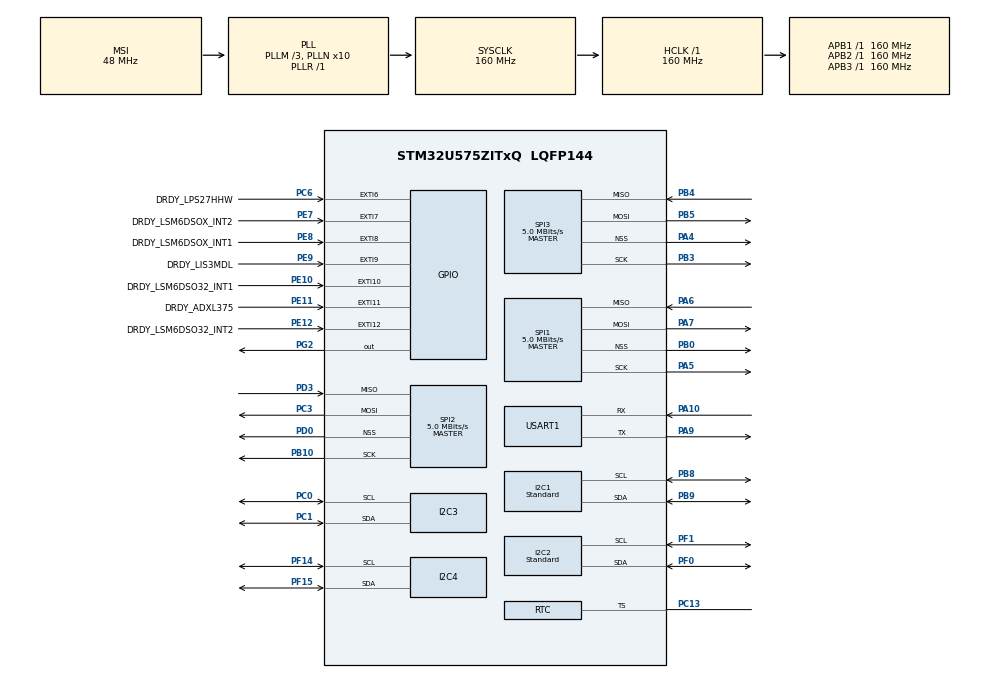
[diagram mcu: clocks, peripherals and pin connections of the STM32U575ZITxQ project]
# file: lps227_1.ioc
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ADC4.Channel-0\#ChannelRegularConversion=ADC4_CHANNEL_TEMPSENSOR
ADC4.ClockPrescaler=ADC_CLOCK_ASYNC_DIV4
ADC4.ContinuousConvMode=ENABLE
ADC4.NbrOfConversionFlag=1
ADC4.OffsetNumber-0\#ChannelRegularConversion=ADC_OFFSET_NONE
ADC4.Overrun=ADC_OVR_DATA_OVERWRITTEN
ADC4.Rank-0\#ChannelRegularConversion=1
ADC4.RankArg-0\#ChannelRegularConversion=ADC4_REGULAR_RANK_1
ADC4.SamplingTime-0\#ChannelRegularConversion=ADC4_SAMPLINGTIME_COMMON_1
ADC4.SelectedChannel=ADC4_CHANNEL_TEMPSENSOR
CORTEX_M33_NS.userName=CORTEX_M33
I2C1.I2C_Fall_Time=2
I2C1.I2C_Rise_Time=26
I2C1.I2C_Speed_Mode=I2C_Standard
I2C1.NoStretchMode=I2C_NOSTRETCH_ENABLE
I2C1.OwnAddress=0
I2C1.Timing=0x30B09DEB
I2C2.I2C_Fall_Time=0
I2C2.I2C_Rise_Time=0
I2C2.I2C_Speed_Mode=I2C_Standard
I2C2.NoStretchMode=I2C_NOSTRETCH_ENABLE
I2C2.Timing=0x30909DEC
I2C3.NoStretchMode=I2C_NOSTRETCH_ENABLE
I2C3.Timing=0x30909DEC
I2C4.NoStretchMode=I2C_NOSTRETCH_ENABLE
I2C4.Timing=0x30909DEC
Mcu.Family=STM32U5
Mcu.Name=STM32U575ZITxQ
Mcu.Package=LQFP144
NVIC.ADC4_IRQn=true\:0\:0\:false\:false\:true\:true\:true\:true
NVIC.EXTI10_IRQn=true\:0\:0\:false\:false\:true\:true\:true\:true
NVIC.EXTI11_IRQn=true\:0\:0\:false\:false\:true\:true\:true\:true
NVIC.EXTI12_IRQn=true\:0\:0\:false\:false\:true\:true\:true\:true
NVIC.EXTI6_IRQn=true\:0\:0\:false\:false\:true\:true\:true\:true
NVIC.EXTI7_IRQn=true\:0\:0\:false\:false\:true\:true\:true\:true
NVIC.EXTI8_IRQn=true\:0\:0\:false\:false\:true\:true\:true\:true
NVIC.EXTI9_IRQn=true\:0\:0\:false\:false\:true\:true\:true\:true
NVIC.PriorityGroup=NVIC_PRIORITYGROUP_3
NVIC.RTC_IRQn=true\:0\:0\:false\:false\:true\:true\:true\:true
PA10.Mode=Asynchronous
PA10.Signal=USART1_RX
PA11.Signal=USB_OTG_FS_DM
PA12.Signal=USB_OTG_FS_DP
PA13\ (JTMS/SWDIO).Signal=DEBUG_JTMS-SWDIO
PA14\ (JTCK/SWCLK).Signal=DEBUG_JTCK-SWCLK
PA15\ (JTDI).Signal=UCPD1_CC1
PA4.Mode=NSS_Signal_Hard_Output
PA4.Signal=SPI3_NSS
PA5.GPIO_Mode=GPIO_MODE_AF_PP
PA5.GPIO_PuPd=GPIO_NOPULL
PA5.GPIO_Speed=GPIO_SPEED_FREQ_LOW
PA5.Mode=Full_Duplex_Master
PA5.Signal=SPI1_SCK
PA6.Mode=Full_Duplex_Master
PA6.Signal=SPI1_MISO
PA7.Mode=Full_Duplex_Master
PA7.Signal=SPI1_MOSI
PA9.Mode=Asynchronous
PA9.Signal=USART1_TX
PB0.Mode=NSS_Signal_Hard_Output
PB0.Signal=SPI1_NSS
PB10.Mode=Full_Duplex_Master
PB10.Signal=SPI2_SCK
PB15.Signal=UCPD1_CC2
PB3\ (JTDO/TRACESWO).Mode=Full_Duplex_Master
PB3\ (JTDO/TRACESWO).Signal=SPI3_SCK
PB4\ (NJTRST).Mode=Full_Duplex_Master
PB4\ (NJTRST).Signal=SPI3_MISO
PB5.Mode=Full_Duplex_Master
PB5.Signal=SPI3_MOSI
PB8.GPIO_FM8=__NULL
PB8.GPIO_Pu=GPIO_PULLUP
PB8.Mode=I2C
PB8.Signal=I2C1_SCL
PB9.GPIO_FM9=__NULL
PB9.GPIO_Pu=GPIO_PULLUP
PB9.Mode=I2C
PB9.Signal=I2C1_SDA
PC0.GPIO_Pu=GPIO_PULLUP
PC0.Mode=I2C
PC0.Signal=I2C3_SCL
PC1.GPIO_Pu=GPIO_PULLUP
PC1.Mode=I2C
PC1.Signal=I2C3_SDA
PC13.Mode=Timestamp enabled
PC13.Signal=RTC_TS
PC14-OSC32_IN\ (PC14).Signal=RCC_OSC32_IN
PC15-OSC32_OUT\ (PC15).Signal=RCC_OSC32_OUT
PC2.GPIO_Label=VBUS_SENSE
PC2.Signal=ADC1_IN3
PC3.Mode=Full_Duplex_Master
PC3.Signal=SPI2_MOSI
PC6.GPIO_Label=DRDY_LPS27HHW
PC6.GPIO_ModeDefaultEXTI=GPIO_MODE_IT_RISING
PC6.GPIO_PuPd=GPIO_NOPULL
PC6.Signal=GPXTI6
PD0.Mode=NSS_Signal_Hard_Output
PD0.Signal=SPI2_NSS
PD3.Mode=Full_Duplex_Master
PD3.Signal=SPI2_MISO
PE10.GPIO_Label=DRDY_LSM6DSO32_INT1
PE10.GPIO_ModeDefaultEXTI=GPIO_MODE_IT_RISING
PE10.GPIO_PuPd=GPIO_NOPULL
PE10.Signal=GPXTI10
PE11.GPIO_Label=DRDY_ADXL375
PE11.GPIO_ModeDefaultEXTI=GPIO_MODE_IT_FALLING
PE11.Signal=GPXTI11
PE12.GPIO_Label=DRDY_LSM6DSO32_INT2
PE12.GPIO_ModeDefaultEXTI=GPIO_MODE_IT_RISING
PE12.GPIO_PuPd=GPIO_NOPULL
PE12.Signal=GPXTI12
PE7.GPIO_Label=DRDY_LSM6DSOX_INT2
PE7.GPIO_PuPd=GPIO_NOPULL
PE7.Signal=GPXTI7
PE8.GPIO_Label=DRDY_LSM6DSOX_INT1
PE8.GPIO_PuPd=GPIO_NOPULL
PE8.Signal=GPXTI8
PE9.GPIO_Label=DRDY_LIS3MDL
PE9.GPIO_PuPd=GPIO_NOPULL
PE9.Signal=GPXTI9
PF0.GPIO_Pu=GPIO_PULLUP
PF0.Mode=I2C
PF0.Signal=I2C2_SDA
PF1.GPIO_Pu=GPIO_PULLUP
PF1.Mode=I2C
PF1.Signal=I2C2_SCL
PF14.GPIO_Pu=GPIO_PULLUP
PF14.Mode=I2C
PF14.Signal=I2C4_SCL
PF15.GPIO_Pu=GPIO_PULLUP
PF15.Mode=I2C
PF15.Signal=I2C4_SDA
PG2.Signal=GPIO_Output
PWR.PowerMode=PWR_SMPS_SUPPLY
ProjectManager.HeapSize=0x200
ProjectManager.StackSize=0x400
ProjectManager.TargetToolchain=STM32CubeIDE
RCC.ADCFreq_Value=16000000
RCC.AHBFreq_Value=160000000
RCC.APB1Freq_Value=160000000
RCC.APB1TimFreq_Value=160000000
RCC.APB2Freq_Value=160000000
RCC.APB2TimFreq_Value=160000000
RCC.APB3Freq_Value=160000000
RCC.CortexFreq_Value=160000000
RCC.DACCLockSelectionVirtual=RCC_DAC1CLKSOURCE_LSI
RCC.DACCLockSelectionVirtualString=RCC_DAC1CLKSOURCE_LSI
RCC.EPOD_VALUE=48000000
RCC.HCLKFreq_Value=160000000
RCC.HSE_VALUE=16000000
RCC.HSI48_VALUE=48000000
RCC.HSI_VALUE=16000000
RCC.I2C1CLockSelection=RCC_I2C1CLKSOURCE_SYSCLK
RCC.LSE_VALUE=32768
RCC.LSIDIV_VALUE=32000
RCC.MSIClockRange=RCC_MSIRANGE_0
RCC.MSI_VALUE=48000000
RCC.PLL1R=1
RCC.PLL2FRACN=0
RCC.PLL3FRACN=0
RCC.PLLFRACN=0
RCC.PLLM=3
RCC.PLLN=10
RCC.SYSCLKFreq_VALUE=160000000
RCC.SYSCLKSource=RCC_SYSCLKSOURCE_PLLCLK
RCC.USBFreq_Value=48000000
RCC.VCOOutputFreq_Value=160000000
RTC.Date=9
RTC.Month=RTC_MONTH_JUNE
RTC.WeekDay=RTC_WEEKDAY_THURSDAY
RTC.Year=22
SPI1.BaudRatePrescaler=SPI_BAUDRATEPRESCALER_32
SPI1.CLKPhase=SPI_PHASE_2EDGE
SPI1.CLKPolarity=SPI_POLARITY_HIGH
SPI1.CalculateBaudRate=5.0 MBits/s
SPI1.DataSize=SPI_DATASIZE_8BIT
SPI1.Direction=SPI_DIRECTION_2LINES
SPI1.Mode=SPI_MODE_MASTER
SPI1.ReadyPolarity=SPI_RDY_POLARITY_LOW
SPI1.VirtualNSS=VM_NSSHARD
SPI1.VirtualType=VM_MASTER
SPI2.BaudRatePrescaler=SPI_BAUDRATEPRESCALER_32
SPI2.CLKPhase=SPI_PHASE_2EDGE
SPI2.CLKPolarity=SPI_POLARITY_HIGH
SPI2.CalculateBaudRate=5.0 MBits/s
SPI2.DataSize=SPI_DATASIZE_8BIT
SPI2.Direction=SPI_DIRECTION_2LINES
SPI2.Mode=SPI_MODE_MASTER
SPI2.ReadyPolarity=SPI_RDY_POLARITY_LOW
SPI2.VirtualNSS=VM_NSSHARD
SPI2.VirtualType=VM_MASTER
SPI3.BaudRatePrescaler=SPI_BAUDRATEPRESCALER_32
SPI3.CLKPhase=SPI_PHASE_2EDGE
SPI3.CLKPolarity=SPI_POLARITY_HIGH
SPI3.CalculateBaudRate=5.0 MBits/s
SPI3.Direction=SPI_DIRECTION_2LINES
SPI3.Mode=SPI_MODE_MASTER
SPI3.ReadyPolarity=SPI_RDY_POLARITY_LOW
SPI3.VirtualNSS=VM_NSSHARD
SPI3.VirtualType=VM_MASTER
USART1.VirtualMode-Asynchronous=VM_ASYNC
VP_ADC4_TempSens_Input.Mode=IN-TempSens
VP_ICACHE_VS_ICACHE.Mode=DirectMappedCache
VP_LPBAMQUEUE_VS_QUEUE.Mode=QUEUEMODE
VP_LPBAM_VS_SIG1.Mode=SmartRun
VP_LPBAM_VS_SIG4.Mode=LPDMA1
VP_PWR_VS_DBSignals.Mode=DisableDeadBatterySignals
VP_PWR_VS_LPOM.Mode=PowerOptimisation
VP_PWR_VS_SECSignals.Mode=Security/Privilege
VP_RTC_VS_RTC_Activate.Mode=RTC_Enabled
VP_RTC_VS_RTC_Calendar.Mode=RTC_Calendar
board=NUCLEO-U575ZI-Q

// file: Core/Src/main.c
/* USER CODE BEGIN Header */
/**
 ******************************************************************************
 * @file           : main.c
 * @brief          : Main program body
 ******************************************************************************
 * @attention
 *
 * Copyright (c) 2022 STMicroelectronics.
 * All rights reserved.
 *
 * This software is licensed under terms that can be found in the LICENSE file
 * in the root directory of this software component.
 * If no LICENSE file comes with this software, it is provided AS-IS.
 *
 ******************************************************************************
 */
/* USER CODE END Header */
#include "main.h"

/* USER CODE BEGIN Includes */
#include "stdio.h"
#include "string.h"

#include "rtc_timestamp.h"
#include "sensor_framework.h"
#include "lps277_i2c.h"
#include"lps277_spi.h"
#include "adc_tempsensor.h"
#include "lis2mdl_i2c.h"
#include "bme680_i2c.h"
#include "bh1750_i2c.h"
#include"lsm6dsox_i2c.h"
#include "lis3mdl_i2c.h"
#include "apds9960_i2c.h"
#include "adxl375_spi.h"
#include "adxl375_i2c.h"
#include "aht20_i2c.h"
#include "lsm6dso32_i2c.h"
#include "lsm6dso32_spi.h"
#include "set_drdy.h"
#include "test_file.h"
/* USER CODE END Includes */

 ADC_HandleTypeDef hadc4;

I2C_HandleTypeDef hi2c1;
I2C_HandleTypeDef hi2c2;
I2C_HandleTypeDef hi2c3;
I2C_HandleTypeDef hi2c4;

RTC_HandleTypeDef hrtc;

SPI_HandleTypeDef hspi1;
SPI_HandleTypeDef hspi2;
SPI_HandleTypeDef hspi3;

UART_HandleTypeDef huart1;

/* USER CODE BEGIN PV */
uint8_t aShowTimeStamp[16] = "hh:ms:ss";

uint8_t aShowDateStamp[16] = "dd-mm-yyyy";
//__IO uint8_t  RTCStatus = 0;
/* USER CODE END PV */

void SystemClock_Config(void);
static void SystemPower_Config(void);
static void MX_GPIO_Init(void);
static void MX_USART1_UART_Init(void);
static void MX_ICACHE_Init(void);
static void MX_I2C1_Init(void);
static void MX_SPI1_Init(void);
static void MX_RTC_Init(void);
static void MX_ADC4_Init(void);
static void MX_I2C2_Init(void);
static void MX_I2C3_Init(void);
static void MX_I2C4_Init(void);
static void MX_SPI2_Init(void);
static void MX_SPI3_Init(void);
/* USER CODE BEGIN PFP */
//LPS27HHW sensor test functions
uint8_t lps277I2CTestInit(I2C_HandleTypeDef I2C_Handle);
uint8_t lps277SPITestInit(SPI_HandleTypeDef SPI_Handle);
uint8_t lps277I2CTestFunction(uint32_t *pres_final_data , I2C_HandleTypeDef I2C_Handle);
uint8_t lps277SPITestFunction(uint32_t *pres_final_data , SPI_HandleTypeDef SPI_Handle);

//LIS2MDL sensor test functions
uint8_t lis2mdlI2CTestInit(I2C_HandleTypeDef I2C_Handle);
uint8_t lis2mdlI2CTestFunction(float magn_final_data[] , I2C_HandleTypeDef I2C_Handle);

//LSM6DSOX sensor test functions
uint8_t lsm6dsoxI2CTestInit(I2C_HandleTypeDef I2C_Handle);
uint8_t lsm6dsoxI2CTestFunction(int16_t acc_final_data[] , int16_t gyro_final_data[], I2C_HandleTypeDef I2C_Handle , uint8_t *acc_flag , uint8_t *gyro_flag);

/* USER CODE END PFP */

int main(void)
{

  /* MCU Configuration--------------------------------------------------------*/

  /* Reset of all peripherals, Initializes the Flash interface and the Systick. */
  HAL_Init();

  /* Configure the system clock */
  SystemClock_Config();

  /* Configure the System Power */
  SystemPower_Config();

  /* Initialize all configured peripherals */
  MX_GPIO_Init();
  MX_USART1_UART_Init();
  MX_ICACHE_Init();
  MX_I2C1_Init();
  MX_SPI1_Init();
  MX_RTC_Init();
  MX_ADC4_Init();
  MX_I2C2_Init();
  MX_I2C3_Init();
  MX_I2C4_Init();
  MX_SPI2_Init();
  MX_SPI3_Init();
  /* USER CODE BEGIN 2 */

	//Initializes all the test sensors
	if(HAL_OK != sensorsInit(hi2c1, hi2c2, hi2c3, hi2c4,
			hspi1, hspi2 , hspi3 , hadc4))
		return HAL_ERROR;

  /* USER CODE END 2 */

  /* Infinite loop */
	while (1)
	{

    /* USER CODE BEGIN 3 */

		//Main sensor framework
		sensor_framework(hi2c1, hi2c2, hi2c3, hi2c4,
				hspi1, hspi2 , hspi3 , hadc4 , huart1 , hrtc);
	}
  /* USER CODE END 3 */
}

void SystemClock_Config(void)
{
  RCC_OscInitTypeDef RCC_OscInitStruct = {0};
  RCC_ClkInitTypeDef RCC_ClkInitStruct = {0};

  /** Configure the main internal regulator output voltage
  */
  if (HAL_PWREx_ControlVoltageScaling(PWR_REGULATOR_VOLTAGE_SCALE1) != HAL_OK)
  {
    Error_Handler();
  }

  /** Initializes the CPU, AHB and APB busses clocks
  */
  RCC_OscInitStruct.OscillatorType = RCC_OSCILLATORTYPE_HSI|RCC_OSCILLATORTYPE_LSI
                              |RCC_OSCILLATORTYPE_MSI;
  RCC_OscInitStruct.HSIState = RCC_HSI_ON;
  RCC_OscInitStruct.HSICalibrationValue = RCC_HSICALIBRATION_DEFAULT;
  RCC_OscInitStruct.LSIState = RCC_LSI_ON;
  RCC_OscInitStruct.MSIState = RCC_MSI_ON;
  RCC_OscInitStruct.MSICalibrationValue = RCC_MSICALIBRATION_DEFAULT;
  RCC_OscInitStruct.MSIClockRange = RCC_MSIRANGE_0;
  RCC_OscInitStruct.LSIDiv = RCC_LSI_DIV1;
  RCC_OscInitStruct.PLL.PLLState = RCC_PLL_ON;
  RCC_OscInitStruct.PLL.PLLSource = RCC_PLLSOURCE_MSI;
  RCC_OscInitStruct.PLL.PLLMBOOST = RCC_PLLMBOOST_DIV4;
  RCC_OscInitStruct.PLL.PLLM = 3;
  RCC_OscInitStruct.PLL.PLLN = 10;
  RCC_OscInitStruct.PLL.PLLP = 2;
  RCC_OscInitStruct.PLL.PLLQ = 2;
  RCC_OscInitStruct.PLL.PLLR = 1;
  RCC_OscInitStruct.PLL.PLLRGE = RCC_PLLVCIRANGE_1;
  RCC_OscInitStruct.PLL.PLLFRACN = 0;
  if (HAL_RCC_OscConfig(&RCC_OscInitStruct) != HAL_OK)
  {
    Error_Handler();
  }

  /** Initializes the CPU, AHB and APB busses clocks
  */
  RCC_ClkInitStruct.ClockType = RCC_CLOCKTYPE_HCLK|RCC_CLOCKTYPE_SYSCLK
                              |RCC_CLOCKTYPE_PCLK1|RCC_CLOCKTYPE_PCLK2
                              |RCC_CLOCKTYPE_PCLK3;
  RCC_ClkInitStruct.SYSCLKSource = RCC_SYSCLKSOURCE_PLLCLK;
  RCC_ClkInitStruct.AHBCLKDivider = RCC_SYSCLK_DIV1;
  RCC_ClkInitStruct.APB1CLKDivider = RCC_HCLK_DIV1;
  RCC_ClkInitStruct.APB2CLKDivider = RCC_HCLK_DIV1;
  RCC_ClkInitStruct.APB3CLKDivider = RCC_HCLK_DIV1;

  if (HAL_RCC_ClockConfig(&RCC_ClkInitStruct, FLASH_LATENCY_4) != HAL_OK)
  {
    Error_Handler();
  }
}

/**
  * @brief Power Configuration
  * @retval None
  */
static void SystemPower_Config(void)
{
  HAL_PWREx_EnableVddIO2();

  /*
   * Disable the internal Pull-Up in Dead Battery pins of UCPD peripheral
   */
  HAL_PWREx_DisableUCPDDeadBattery();

  /*
   * Switch to SMPS regulator instead of LDO
   */
  if (HAL_PWREx_ConfigSupply(PWR_SMPS_SUPPLY) != HAL_OK)
  {
    Error_Handler();
  }
}

static void MX_ADC4_Init(void)
{

  ADC_ChannelConfTypeDef sConfig = {0};

  /** Common config
  */
  hadc4.Instance = ADC4;
  hadc4.Init.ClockPrescaler = ADC_CLOCK_ASYNC_DIV4;
  hadc4.Init.Resolution = ADC_RESOLUTION_12B;
  hadc4.Init.DataAlign = ADC_DATAALIGN_RIGHT;
  hadc4.Init.ScanConvMode = ADC4_SCAN_DISABLE;
  hadc4.Init.EOCSelection = ADC_EOC_SINGLE_CONV;
  hadc4.Init.LowPowerAutoPowerOff = ADC_LOW_POWER_NONE;
  hadc4.Init.LowPowerAutoWait = DISABLE;
  hadc4.Init.ContinuousConvMode = ENABLE;
  hadc4.Init.NbrOfConversion = 1;
  hadc4.Init.ExternalTrigConv = ADC_SOFTWARE_START;
  hadc4.Init.ExternalTrigConvEdge = ADC_EXTERNALTRIGCONVEDGE_NONE;
  hadc4.Init.DMAContinuousRequests = DISABLE;
  hadc4.Init.TriggerFrequencyMode = ADC_TRIGGER_FREQ_LOW;
  hadc4.Init.Overrun = ADC_OVR_DATA_OVERWRITTEN;
  hadc4.Init.SamplingTimeCommon1 = ADC4_SAMPLETIME_1CYCLE_5;
  hadc4.Init.SamplingTimeCommon2 = ADC4_SAMPLETIME_1CYCLE_5;
  hadc4.Init.OversamplingMode = DISABLE;
  if (HAL_ADC_Init(&hadc4) != HAL_OK)
  {
    Error_Handler();
  }

  /** Configure Regular Channel
  */
  sConfig.Channel = ADC4_CHANNEL_TEMPSENSOR;
  sConfig.Rank = ADC4_REGULAR_RANK_1;
  sConfig.SamplingTime = ADC4_SAMPLINGTIME_COMMON_1;
  sConfig.OffsetNumber = ADC_OFFSET_NONE;
  sConfig.Offset = 0;
  if (HAL_ADC_ConfigChannel(&hadc4, &sConfig) != HAL_OK)
  {
    Error_Handler();
  }
  /* USER CODE BEGIN ADC4_Init 2 */

	//Calibration a must for accurate values
	if(HAL_OK != HAL_ADCEx_Calibration_Start(&hadc4, ADC_CALIB_OFFSET, ADC_SINGLE_ENDED))
		Error_Handler();
  /* USER CODE END ADC4_Init 2 */

}

static void MX_I2C1_Init(void)
{

  hi2c1.Instance = I2C1;
  hi2c1.Init.Timing = 0x30B09DEB;
  hi2c1.Init.OwnAddress1 = 0;
  hi2c1.Init.AddressingMode = I2C_ADDRESSINGMODE_7BIT;
  hi2c1.Init.DualAddressMode = I2C_DUALADDRESS_DISABLE;
  hi2c1.Init.OwnAddress2 = 0;
  hi2c1.Init.OwnAddress2Masks = I2C_OA2_NOMASK;
  hi2c1.Init.GeneralCallMode = I2C_GENERALCALL_DISABLE;
  hi2c1.Init.NoStretchMode = I2C_NOSTRETCH_ENABLE;
  if (HAL_I2C_Init(&hi2c1) != HAL_OK)
  {
    Error_Handler();
  }

  /** Configure Analogue filter
  */
  if (HAL_I2CEx_ConfigAnalogFilter(&hi2c1, I2C_ANALOGFILTER_ENABLE) != HAL_OK)
  {
    Error_Handler();
  }

  /** Configure Digital filter
  */
  if (HAL_I2CEx_ConfigDigitalFilter(&hi2c1, 0) != HAL_OK)
  {
    Error_Handler();
  }

}

static void MX_I2C2_Init(void)
{

  hi2c2.Instance = I2C2;
  hi2c2.Init.Timing = 0x30909DEC;
  hi2c2.Init.OwnAddress1 = 0;
  hi2c2.Init.AddressingMode = I2C_ADDRESSINGMODE_7BIT;
  hi2c2.Init.DualAddressMode = I2C_DUALADDRESS_DISABLE;
  hi2c2.Init.OwnAddress2 = 0;
  hi2c2.Init.OwnAddress2Masks = I2C_OA2_NOMASK;
  hi2c2.Init.GeneralCallMode = I2C_GENERALCALL_DISABLE;
  hi2c2.Init.NoStretchMode = I2C_NOSTRETCH_ENABLE;
  if (HAL_I2C_Init(&hi2c2) != HAL_OK)
  {
    Error_Handler();
  }

  /** Configure Analogue filter
  */
  if (HAL_I2CEx_ConfigAnalogFilter(&hi2c2, I2C_ANALOGFILTER_ENABLE) != HAL_OK)
  {
    Error_Handler();
  }

  /** Configure Digital filter
  */
  if (HAL_I2CEx_ConfigDigitalFilter(&hi2c2, 0) != HAL_OK)
  {
    Error_Handler();
  }

}

static void MX_I2C3_Init(void)
{

  hi2c3.Instance = I2C3;
  hi2c3.Init.Timing = 0x30909DEC;
  hi2c3.Init.OwnAddress1 = 0;
  hi2c3.Init.AddressingMode = I2C_ADDRESSINGMODE_7BIT;
  hi2c3.Init.DualAddressMode = I2C_DUALADDRESS_DISABLE;
  hi2c3.Init.OwnAddress2 = 0;
  hi2c3.Init.OwnAddress2Masks = I2C_OA2_NOMASK;
  hi2c3.Init.GeneralCallMode = I2C_GENERALCALL_DISABLE;
  hi2c3.Init.NoStretchMode = I2C_NOSTRETCH_ENABLE;
  if (HAL_I2C_Init(&hi2c3) != HAL_OK)
  {
    Error_Handler();
  }

  /** Configure Analogue filter
  */
  if (HAL_I2CEx_ConfigAnalogFilter(&hi2c3, I2C_ANALOGFILTER_ENABLE) != HAL_OK)
  {
    Error_Handler();
  }

  /** Configure Digital filter
  */
  if (HAL_I2CEx_ConfigDigitalFilter(&hi2c3, 0) != HAL_OK)
  {
    Error_Handler();
  }

}

static void MX_I2C4_Init(void)
{

  hi2c4.Instance = I2C4;
  hi2c4.Init.Timing = 0x30909DEC;
  hi2c4.Init.OwnAddress1 = 0;
  hi2c4.Init.AddressingMode = I2C_ADDRESSINGMODE_7BIT;
  hi2c4.Init.DualAddressMode = I2C_DUALADDRESS_DISABLE;
  hi2c4.Init.OwnAddress2 = 0;
  hi2c4.Init.OwnAddress2Masks = I2C_OA2_NOMASK;
  hi2c4.Init.GeneralCallMode = I2C_GENERALCALL_DISABLE;
  hi2c4.Init.NoStretchMode = I2C_NOSTRETCH_ENABLE;
  if (HAL_I2C_Init(&hi2c4) != HAL_OK)
  {
    Error_Handler();
  }

  /** Configure Analogue filter
  */
  if (HAL_I2CEx_ConfigAnalogFilter(&hi2c4, I2C_ANALOGFILTER_ENABLE) != HAL_OK)
  {
    Error_Handler();
  }

  /** Configure Digital filter
  */
  if (HAL_I2CEx_ConfigDigitalFilter(&hi2c4, 0) != HAL_OK)
  {
    Error_Handler();
  }

}

static void MX_ICACHE_Init(void)
{

  /** Enable instruction cache in 1-way (direct mapped cache)
  */
  if (HAL_ICACHE_ConfigAssociativityMode(ICACHE_1WAY) != HAL_OK)
  {
    Error_Handler();
  }
  if (HAL_ICACHE_Enable() != HAL_OK)
  {
    Error_Handler();
  }

}

static void MX_RTC_Init(void)
{

  RTC_PrivilegeStateTypeDef privilegeState = {0};
  RTC_TimeTypeDef sTime = {0};
  RTC_DateTypeDef sDate = {0};

  /** Initialize RTC Only
  */
  hrtc.Instance = RTC;
  hrtc.Init.HourFormat = RTC_HOURFORMAT_24;
  hrtc.Init.AsynchPrediv = 127;
  hrtc.Init.SynchPrediv = 255;
  hrtc.Init.OutPut = RTC_OUTPUT_DISABLE;
  hrtc.Init.OutPutRemap = RTC_OUTPUT_REMAP_NONE;
  hrtc.Init.OutPutPolarity = RTC_OUTPUT_POLARITY_HIGH;
  hrtc.Init.OutPutType = RTC_OUTPUT_TYPE_OPENDRAIN;
  hrtc.Init.OutPutPullUp = RTC_OUTPUT_PULLUP_NONE;
  hrtc.Init.BinMode = RTC_BINARY_NONE;
  if (HAL_RTC_Init(&hrtc) != HAL_OK)
  {
    Error_Handler();
  }
  privilegeState.rtcPrivilegeFull = RTC_PRIVILEGE_FULL_NO;
  privilegeState.backupRegisterPrivZone = RTC_PRIVILEGE_BKUP_ZONE_NONE;
  privilegeState.backupRegisterStartZone2 = RTC_BKP_DR0;
  privilegeState.backupRegisterStartZone3 = RTC_BKP_DR0;
  if (HAL_RTCEx_PrivilegeModeSet(&hrtc, &privilegeState) != HAL_OK)
  {
    Error_Handler();
  }

  /** Initialize RTC and set the Time and Date
  */
  sTime.Hours = 0x0;
  sTime.Minutes = 0x0;
  sTime.Seconds = 0x0;
  sTime.DayLightSaving = RTC_DAYLIGHTSAVING_NONE;
  sTime.StoreOperation = RTC_STOREOPERATION_RESET;
  if (HAL_RTC_SetTime(&hrtc, &sTime, RTC_FORMAT_BCD) != HAL_OK)
  {
    Error_Handler();
  }
  sDate.WeekDay = RTC_WEEKDAY_THURSDAY;
  sDate.Month = RTC_MONTH_JUNE;
  sDate.Date = 0x9;
  sDate.Year = 0x22;
  if (HAL_RTC_SetDate(&hrtc, &sDate, RTC_FORMAT_BCD) != HAL_OK)
  {
    Error_Handler();
  }

  /** Enable the TimeStamp
  */
  if (HAL_RTCEx_SetTimeStamp_IT(&hrtc, RTC_TIMESTAMPEDGE_RISING, RTC_TIMESTAMPPIN_DEFAULT) != HAL_OK)
  {
    Error_Handler();
  }
  /* USER CODE BEGIN RTC_Init 2 */

	//Subtracts a fraction of a second
	//Reference: RM0456 Rev 3
	__HAL_RTC_WRITEPROTECTION_DISABLE(hrtc);

	hrtc.Instance->SHIFTR = 0x00000001;   //1 msec

	__HAL_RTC_WRITEPROTECTION_ENABLE(hrtc);
  /* USER CODE END RTC_Init 2 */

}

static void MX_SPI1_Init(void)
{

  SPI_AutonomousModeConfTypeDef HAL_SPI_AutonomousMode_Cfg_Struct = {0};

  /* SPI1 parameter configuration*/
  hspi1.Instance = SPI1;
  hspi1.Init.Mode = SPI_MODE_MASTER;
  hspi1.Init.Direction = SPI_DIRECTION_2LINES;
  hspi1.Init.DataSize = SPI_DATASIZE_8BIT;
  hspi1.Init.CLKPolarity = SPI_POLARITY_HIGH;
  hspi1.Init.CLKPhase = SPI_PHASE_2EDGE;
  hspi1.Init.NSS = SPI_NSS_HARD_OUTPUT;
  hspi1.Init.BaudRatePrescaler = SPI_BAUDRATEPRESCALER_32;
  hspi1.Init.FirstBit = SPI_FIRSTBIT_MSB;
  hspi1.Init.TIMode = SPI_TIMODE_DISABLE;
  hspi1.Init.CRCCalculation = SPI_CRCCALCULATION_DISABLE;
  hspi1.Init.CRCPolynomial = 0x7;
  hspi1.Init.NSSPMode = SPI_NSS_PULSE_DISABLE;
  hspi1.Init.NSSPolarity = SPI_NSS_POLARITY_LOW;
  hspi1.Init.FifoThreshold = SPI_FIFO_THRESHOLD_01DATA;
  hspi1.Init.MasterSSIdleness = SPI_MASTER_SS_IDLENESS_00CYCLE;
  hspi1.Init.MasterInterDataIdleness = SPI_MASTER_INTERDATA_IDLENESS_00CYCLE;
  hspi1.Init.MasterReceiverAutoSusp = SPI_MASTER_RX_AUTOSUSP_DISABLE;
  hspi1.Init.MasterKeepIOState = SPI_MASTER_KEEP_IO_STATE_DISABLE;
  hspi1.Init.IOSwap = SPI_IO_SWAP_DISABLE;
  hspi1.Init.ReadyMasterManagement = SPI_RDY_MASTER_MANAGEMENT_INTERNALLY;
  hspi1.Init.ReadyPolarity = SPI_RDY_POLARITY_LOW;
  if (HAL_SPI_Init(&hspi1) != HAL_OK)
  {
    Error_Handler();
  }
  HAL_SPI_AutonomousMode_Cfg_Struct.TriggerState = SPI_AUTO_MODE_DISABLE;
  HAL_SPI_AutonomousMode_Cfg_Struct.TriggerSelection = SPI_GRP1_GPDMA_CH0_TCF_TRG;
  HAL_SPI_AutonomousMode_Cfg_Struct.TriggerPolarity = SPI_TRIG_POLARITY_RISING;
  if (HAL_SPIEx_SetConfigAutonomousMode(&hspi1, &HAL_SPI_AutonomousMode_Cfg_Struct) != HAL_OK)
  {
    Error_Handler();
  }

}

static void MX_SPI2_Init(void)
{

  SPI_AutonomousModeConfTypeDef HAL_SPI_AutonomousMode_Cfg_Struct = {0};

  /* SPI2 parameter configuration*/
  hspi2.Instance = SPI2;
  hspi2.Init.Mode = SPI_MODE_MASTER;
  hspi2.Init.Direction = SPI_DIRECTION_2LINES;
  hspi2.Init.DataSize = SPI_DATASIZE_8BIT;
  hspi2.Init.CLKPolarity = SPI_POLARITY_HIGH;
  hspi2.Init.CLKPhase = SPI_PHASE_2EDGE;
  hspi2.Init.NSS = SPI_NSS_HARD_OUTPUT;
  hspi2.Init.BaudRatePrescaler = SPI_BAUDRATEPRESCALER_32;
  hspi2.Init.FirstBit = SPI_FIRSTBIT_MSB;
  hspi2.Init.TIMode = SPI_TIMODE_DISABLE;
  hspi2.Init.CRCCalculation = SPI_CRCCALCULATION_DISABLE;
  hspi2.Init.CRCPolynomial = 0x7;
  hspi2.Init.NSSPMode = SPI_NSS_PULSE_DISABLE;
  hspi2.Init.NSSPolarity = SPI_NSS_POLARITY_LOW;
  hspi2.Init.FifoThreshold = SPI_FIFO_THRESHOLD_01DATA;
  hspi2.Init.MasterSSIdleness = SPI_MASTER_SS_IDLENESS_00CYCLE;
  hspi2.Init.MasterInterDataIdleness = SPI_MASTER_INTERDATA_IDLENESS_00CYCLE;
  hspi2.Init.MasterReceiverAutoSusp = SPI_MASTER_RX_AUTOSUSP_DISABLE;
  hspi2.Init.MasterKeepIOState = SPI_MASTER_KEEP_IO_STATE_DISABLE;
  hspi2.Init.IOSwap = SPI_IO_SWAP_DISABLE;
  hspi2.Init.ReadyMasterManagement = SPI_RDY_MASTER_MANAGEMENT_INTERNALLY;
  hspi2.Init.ReadyPolarity = SPI_RDY_POLARITY_LOW;
  if (HAL_SPI_Init(&hspi2) != HAL_OK)
  {
    Error_Handler();
  }
  HAL_SPI_AutonomousMode_Cfg_Struct.TriggerState = SPI_AUTO_MODE_DISABLE;
  HAL_SPI_AutonomousMode_Cfg_Struct.TriggerSelection = SPI_GRP1_GPDMA_CH0_TCF_TRG;
  HAL_SPI_AutonomousMode_Cfg_Struct.TriggerPolarity = SPI_TRIG_POLARITY_RISING;
  if (HAL_SPIEx_SetConfigAutonomousMode(&hspi2, &HAL_SPI_AutonomousMode_Cfg_Struct) != HAL_OK)
  {
    Error_Handler();
  }

}

static void MX_SPI3_Init(void)
{

  SPI_AutonomousModeConfTypeDef HAL_SPI_AutonomousMode_Cfg_Struct = {0};

  /* SPI3 parameter configuration*/
  hspi3.Instance = SPI3;
  hspi3.Init.Mode = SPI_MODE_MASTER;
  hspi3.Init.Direction = SPI_DIRECTION_2LINES;
  hspi3.Init.DataSize = SPI_DATASIZE_8BIT;
  hspi3.Init.CLKPolarity = SPI_POLARITY_HIGH;
  hspi3.Init.CLKPhase = SPI_PHASE_2EDGE;
  hspi3.Init.NSS = SPI_NSS_HARD_OUTPUT;
  hspi3.Init.BaudRatePrescaler = SPI_BAUDRATEPRESCALER_32;
  hspi3.Init.FirstBit = SPI_FIRSTBIT_MSB;
  hspi3.Init.TIMode = SPI_TIMODE_DISABLE;
  hspi3.Init.CRCCalculation = SPI_CRCCALCULATION_DISABLE;
  hspi3.Init.CRCPolynomial = 0x7;
  hspi3.Init.NSSPMode = SPI_NSS_PULSE_DISABLE;
  hspi3.Init.NSSPolarity = SPI_NSS_POLARITY_LOW;
  hspi3.Init.FifoThreshold = SPI_FIFO_THRESHOLD_01DATA;
  hspi3.Init.MasterSSIdleness = SPI_MASTER_SS_IDLENESS_00CYCLE;
  hspi3.Init.MasterInterDataIdleness = SPI_MASTER_INTERDATA_IDLENESS_00CYCLE;
  hspi3.Init.MasterReceiverAutoSusp = SPI_MASTER_RX_AUTOSUSP_DISABLE;
  hspi3.Init.MasterKeepIOState = SPI_MASTER_KEEP_IO_STATE_DISABLE;
  hspi3.Init.IOSwap = SPI_IO_SWAP_DISABLE;
  hspi3.Init.ReadyMasterManagement = SPI_RDY_MASTER_MANAGEMENT_INTERNALLY;
  hspi3.Init.ReadyPolarity = SPI_RDY_POLARITY_LOW;
  if (HAL_SPI_Init(&hspi3) != HAL_OK)
  {
    Error_Handler();
  }
  HAL_SPI_AutonomousMode_Cfg_Struct.TriggerState = SPI_AUTO_MODE_DISABLE;
  HAL_SPI_AutonomousMode_Cfg_Struct.TriggerSelection = SPI_GRP1_GPDMA_CH0_TCF_TRG;
  HAL_SPI_AutonomousMode_Cfg_Struct.TriggerPolarity = SPI_TRIG_POLARITY_RISING;
  if (HAL_SPIEx_SetConfigAutonomousMode(&hspi3, &HAL_SPI_AutonomousMode_Cfg_Struct) != HAL_OK)
  {
    Error_Handler();
  }

}

static void MX_USART1_UART_Init(void)
{

  huart1.Instance = USART1;
  huart1.Init.BaudRate = 115200;
  huart1.Init.WordLength = UART_WORDLENGTH_8B;
  huart1.Init.StopBits = UART_STOPBITS_1;
  huart1.Init.Parity = UART_PARITY_NONE;
  huart1.Init.Mode = UART_MODE_TX_RX;
  huart1.Init.HwFlowCtl = UART_HWCONTROL_NONE;
  huart1.Init.OverSampling = UART_OVERSAMPLING_16;
  huart1.Init.OneBitSampling = UART_ONE_BIT_SAMPLE_DISABLE;
  huart1.Init.ClockPrescaler = UART_PRESCALER_DIV1;
  huart1.AdvancedInit.AdvFeatureInit = UART_ADVFEATURE_NO_INIT;
  if (HAL_UART_Init(&huart1) != HAL_OK)
  {
    Error_Handler();
  }
  if (HAL_UARTEx_SetTxFifoThreshold(&huart1, UART_TXFIFO_THRESHOLD_1_8) != HAL_OK)
  {
    Error_Handler();
  }
  if (HAL_UARTEx_SetRxFifoThreshold(&huart1, UART_RXFIFO_THRESHOLD_1_8) != HAL_OK)
  {
    Error_Handler();
  }
  if (HAL_UARTEx_DisableFifoMode(&huart1) != HAL_OK)
  {
    Error_Handler();
  }

}

static void MX_GPIO_Init(void)
{
  GPIO_InitTypeDef GPIO_InitStruct = {0};

  /* GPIO Ports Clock Enable */
  __HAL_RCC_GPIOC_CLK_ENABLE();
  __HAL_RCC_GPIOF_CLK_ENABLE();
  __HAL_RCC_GPIOA_CLK_ENABLE();
  __HAL_RCC_GPIOB_CLK_ENABLE();
  __HAL_RCC_GPIOE_CLK_ENABLE();
  __HAL_RCC_GPIOG_CLK_ENABLE();
  __HAL_RCC_GPIOD_CLK_ENABLE();

  /*Configure GPIO pin Output Level */
  HAL_GPIO_WritePin(GPIOG, GPIO_PIN_2, GPIO_PIN_RESET);

  /*Configure GPIO pin : VBUS_SENSE_Pin */
  GPIO_InitStruct.Pin = VBUS_SENSE_Pin;
  GPIO_InitStruct.Mode = GPIO_MODE_ANALOG;
  GPIO_InitStruct.Pull = GPIO_NOPULL;
  HAL_GPIO_Init(VBUS_SENSE_GPIO_Port, &GPIO_InitStruct);

  /*Configure GPIO pins : DRDY_LSM6DSOX_INT2_Pin DRDY_LSM6DSOX_INT1_Pin DRDY_LIS3MDL_Pin DRDY_LSM6DSO32_INT1_Pin
                           DRDY_LSM6DSO32_INT2_Pin */
  GPIO_InitStruct.Pin = DRDY_LSM6DSOX_INT2_Pin|DRDY_LSM6DSOX_INT1_Pin|DRDY_LIS3MDL_Pin|DRDY_LSM6DSO32_INT1_Pin
                          |DRDY_LSM6DSO32_INT2_Pin;
  GPIO_InitStruct.Mode = GPIO_MODE_IT_RISING;
  GPIO_InitStruct.Pull = GPIO_NOPULL;
  HAL_GPIO_Init(GPIOE, &GPIO_InitStruct);

  /*Configure GPIO pin : DRDY_ADXL375_Pin */
  GPIO_InitStruct.Pin = DRDY_ADXL375_Pin;
  GPIO_InitStruct.Mode = GPIO_MODE_IT_FALLING;
  GPIO_InitStruct.Pull = GPIO_NOPULL;
  HAL_GPIO_Init(DRDY_ADXL375_GPIO_Port, &GPIO_InitStruct);

  /*Configure GPIO pin : PB15 */
  GPIO_InitStruct.Pin = GPIO_PIN_15;
  GPIO_InitStruct.Mode = GPIO_MODE_ANALOG;
  GPIO_InitStruct.Pull = GPIO_NOPULL;
  HAL_GPIO_Init(GPIOB, &GPIO_InitStruct);

  /*Configure GPIO pin : PG2 */
  GPIO_InitStruct.Pin = GPIO_PIN_2;
  GPIO_InitStruct.Mode = GPIO_MODE_OUTPUT_PP;
  GPIO_InitStruct.Pull = GPIO_NOPULL;
  GPIO_InitStruct.Speed = GPIO_SPEED_FREQ_LOW;
  HAL_GPIO_Init(GPIOG, &GPIO_InitStruct);

  /*Configure GPIO pin : DRDY_LPS27HHW_Pin */
  GPIO_InitStruct.Pin = DRDY_LPS27HHW_Pin;
  GPIO_InitStruct.Mode = GPIO_MODE_IT_RISING;
  GPIO_InitStruct.Pull = GPIO_NOPULL;
  HAL_GPIO_Init(DRDY_LPS27HHW_GPIO_Port, &GPIO_InitStruct);

  /*Configure GPIO pins : PA11 PA12 */
  GPIO_InitStruct.Pin = GPIO_PIN_11|GPIO_PIN_12;
  GPIO_InitStruct.Mode = GPIO_MODE_AF_PP;
  GPIO_InitStruct.Pull = GPIO_NOPULL;
  GPIO_InitStruct.Speed = GPIO_SPEED_FREQ_LOW;
  GPIO_InitStruct.Alternate = GPIO_AF10_USB;
  HAL_GPIO_Init(GPIOA, &GPIO_InitStruct);

  /*Configure GPIO pin : PA15 */
  GPIO_InitStruct.Pin = GPIO_PIN_15;
  GPIO_InitStruct.Mode = GPIO_MODE_ANALOG;
  GPIO_InitStruct.Pull = GPIO_NOPULL;
  HAL_GPIO_Init(GPIOA, &GPIO_InitStruct);

  /* EXTI interrupt init*/
  HAL_NVIC_SetPriority(EXTI6_IRQn, 0, 0);
  HAL_NVIC_EnableIRQ(EXTI6_IRQn);

  HAL_NVIC_SetPriority(EXTI7_IRQn, 0, 0);
  HAL_NVIC_EnableIRQ(EXTI7_IRQn);

  HAL_NVIC_SetPriority(EXTI8_IRQn, 0, 0);
  HAL_NVIC_EnableIRQ(EXTI8_IRQn);

  HAL_NVIC_SetPriority(EXTI9_IRQn, 0, 0);
  HAL_NVIC_EnableIRQ(EXTI9_IRQn);

  HAL_NVIC_SetPriority(EXTI10_IRQn, 0, 0);
  HAL_NVIC_EnableIRQ(EXTI10_IRQn);

  HAL_NVIC_SetPriority(EXTI11_IRQn, 0, 0);
  HAL_NVIC_EnableIRQ(EXTI11_IRQn);

  HAL_NVIC_SetPriority(EXTI12_IRQn, 0, 0);
  HAL_NVIC_EnableIRQ(EXTI12_IRQn);

}

/* USER CODE BEGIN 4 */

/**
 * @brief Interrupt callback for INT_DRDY pin from sensor (PC-6)
 * @param uint16_t GPIO_Pin: GPIO Pin number where interrupt is triggered
 * @retval None
 */
//void HAL_GPIO_EXTI_Rising_Callback(uint16_t GPIO_Pin)
//{
//	//LPS27HHW data ready pin
//	if(GPIO_Pin == DRDY_LPS27HHW_Pin)
//		lps27_drdy = 1;
//
//	//LSM6DSOX data ready pin gyroscope
//	if(GPIO_Pin == DRDY_LSM6DSOX_INT2_Pin)
//		lsm6dsox_gyro_drdy = 1;
//
//	//LSM6DSOX data ready pin accelerometer
//	if(GPIO_Pin == DRDY_LSM6DSOX_INT1_Pin)
//		lsm6dsox_acc_drdy = 1;
//
//	if(GPIO_Pin == DRDY_LSM6DSO32_INT1_Pin)
//		lsm6dso32_acc_drdy = 1;
//
//	if(GPIO_Pin == DRDY_LSM6DSO32_INT2_Pin)
//		lsm6dso32_gyro_drdy = 1;
//
//	//LISM3DL data ready pin magnetometer
//	if(GPIO_Pin == DRDY_LIS3MDL_Pin)
//		lism3dl_drdy = 1;
//
//}
//
//void HAL_GPIO_EXTI_Falling_Callback(uint16_t GPIO_Pin)
//{
//
//	//ADXL375 Data ready pin accelerometer
//	if(GPIO_Pin == DRDY_ADXL375_Pin)
//		adxl375_drdy = 1;
//}

//void HAL_ADC_ConvCpltCallback(ADC_HandleTypeDef *hadc)
//{
//	adc_irq = 1;
//}

/**
 * @brief  Timestamp callback
 * @param  hrtc : hrtc handle
 * @retval None
 */
void HAL_RTCEx_TimeStampEventCallback(RTC_HandleTypeDef *RTC_Handle)
{
	//	RTCStatus = 1;
	RTC_DateTypeDef sTimeStampDateget;
	RTC_TimeTypeDef sTimeStampget;

	HAL_RTCEx_GetTimeStamp(&hrtc, &sTimeStampget, &sTimeStampDateget, RTC_FORMAT_BIN);

	//Convert sub-seconds into milliseconds
	uint16_t millisec = (1000 * (sTimeStampget.SecondFraction - sTimeStampget.SubSeconds)) / (sTimeStampget.SecondFraction + 1);

	/* Display time Format : hh:mm:ss */
	sprintf((char *)aShowTimeStamp, "%.2d:%.2d:%.2d:%.3hu", sTimeStampget.Hours, sTimeStampget.Minutes, sTimeStampget.Seconds, millisec);
	/* Display date Format : mm-dd */
	sprintf((char *)aShowDateStamp, "%.2d-%.2d-%.2d", sTimeStampDateget.Month, sTimeStampDateget.Date, 2020);
}

/**
 * @brief LPS27 Sensor Test Function Initialization
 * @param I2C_HandleTypeDef: The I2C peripheral on the micro-controller
 * @retval ret_status: Error status
 */
uint8_t lps277I2CTestInit(I2C_HandleTypeDef I2C_Handle)
{
	uint8_t ret_status = HAL_OK;

	if(HAL_OK != lps227I2CWhoami(I2C_Handle))
		ret_status = HAL_ERROR;

	//Start-up sequence
	if(HAL_OK != lps277I2CSetup(I2C_Handle))
		ret_status = HAL_ERROR;

	return ret_status;

}

/**
 * @brief LPS27 Sensor Test Function Initialization
 * @param I2C_HandleTypeDef: The I2C peripheral on the micro-controller
 * @retval ret_status: Error status
 */
uint8_t lis2mdlI2CTestInit(I2C_HandleTypeDef I2C_Handle)
{
	uint8_t ret_status = HAL_OK;

	if(HAL_OK != lis2mdlI2CWhoami(I2C_Handle))
		ret_status = HAL_ERROR;

	//Start-up sequence
	if(HAL_OK != lis2mdlI2CSetup(I2C_Handle))
		ret_status = HAL_ERROR;

	return ret_status;

}

/**
 * @brief LSM6DSOX Sensor Test Function Initialization
 * @param I2C_HandleTypeDef: The I2C peripheral on the micro-controller
 * @retval ret_status: Error status
 */
uint8_t lsm6dsoxI2CTestInit(I2C_HandleTypeDef I2C_Handle)
{
	uint8_t ret_status = HAL_OK;

	//	if(HAL_OK != lsm6dsoxI2CWhoami(I2C_Handle))
	//		ret_status = HAL_ERROR;

	if(HAL_OK != lsm6dso32I2CWhoami(I2C_Handle))
		ret_status = HAL_ERROR;

	//	//Start-up sequence
	//	if(HAL_OK != lsm6dsoxI2CSetup(I2C_Handle))
	//		ret_status = HAL_ERROR;

	//Start-up sequence
	if(HAL_OK != lsm6dso32I2CSetup(I2C_Handle))
		ret_status = HAL_ERROR;

	return ret_status;

}

/**
 * @brief LPS27 Sensor Test Function I2C
 * @param uint32_t *pres_final_data: Final pressure data in hPa
 * 		  I2C_HandleTypeDef: The I2C peripheral on the micro-controller
 * @retval ret_status: Error status
 */
uint8_t lps277I2CTestFunction(uint32_t *pres_final_data , I2C_HandleTypeDef I2C_Handle)
{
	uint8_t pres_raw_data[3];

	uint8_t ret_status = HAL_OK;

	if(HAL_OK == lps277I2CPressureRawData(pres_raw_data , I2C_Handle))
		*pres_final_data = lps277I2CPressureFinalData(pres_raw_data, 3);
	else
		ret_status = HAL_ERROR;

	return ret_status;
}

/**
 * @brief LIS2MDL Sensor Test Function I2C
 * @param int16_t *mag_final_data: Final magnetic data in mG
 * 		  I2C_HandleTypeDef: The I2C peripheral on the micro-controller
 * @retval ret_status: Error status
 */
uint8_t lis2mdlI2CTestFunction(float magn_final_data[] , I2C_HandleTypeDef I2C_Handle)
{
	uint8_t magn_raw_data[6];

	uint8_t ret_status = HAL_OK;

	if(HAL_OK == lis2mdlMagneticRawData(magn_raw_data, I2C_Handle))
		lis2mdlI2CMagneticFinalData(magn_raw_data, 6, magn_final_data);
	else
		ret_status = HAL_ERROR;

	return ret_status;
}

/**
 * @brief LSM6DSOX Sensor Test Function I2C
 * @param int16_t acc_final_data: Final linear acceleration
 * 	      int16_t gyro_final_data: Final angular acceleration
 * 		  I2C_HandleTypeDef: The I2C peripheral on the micro-controller
 * 		  uint8_t *acc_flag: Flag to indicate new data read
 * 		  uint8_t *gyro_flag: Flag to indicate new data read
 * @retval ret_status: Error status
 */
uint8_t lsm6dsoxI2CTestFunction(int16_t acc_final_data[] , int16_t gyro_final_data[], I2C_HandleTypeDef I2C_Handle , uint8_t *acc_flag , uint8_t *gyro_flag)
{
	uint8_t ret_status = HAL_OK;

	//	if(lsm_acc_drdy == 1)
	//	{
	//		lsm_acc_drdy = 0;
	*acc_flag = 1;
	//		if(HAL_OK != lsm6dsoxI2CAccRawData(I2C_Handle, acc_final_data))
	//			ret_status = HAL_ERROR;
	//		if(HAL_OK != lsm6dso32I2CAccRawData(I2C_Handle, acc_final_data))
	//			ret_status = HAL_ERROR;

	if(HAL_OK != lsm6dso32SPIAccData(hspi1, acc_final_data))
		ret_status = HAL_ERROR;
	//	}

	//	if(lsm_gyro_drdy == 1)
	//	{
	//		lsm_gyro_drdy = 0;
	*gyro_flag = 1;
	//		if(HAL_OK != lsm6dsoxI2CGyroRawData(I2C_Handle, gyro_final_data))
	//			ret_status = HAL_ERROR;
	//		if(HAL_OK != lsm6dso32I2CGyroRawData(I2C_Handle, gyro_final_data))
	//			ret_status = HAL_ERROR;

	if(HAL_OK != lsm6dso32SPIGyroData(hspi1, gyro_final_data))
		ret_status = HAL_ERROR;
	//	}

	return ret_status;
}

/**
 * @brief LPS27 Sensor Test Function Initialization
 * @param SPI_HandleTypeDef: The SPI peripheral on the micro-controller
 * @retval ret_status: Error status
 */
uint8_t lps277SPITestInit(SPI_HandleTypeDef SPI_Handle)
{
	uint8_t ret_status = HAL_OK;

	if(HAL_OK != lps227SPIWhoami(SPI_Handle))
		ret_status = HAL_ERROR;

	//Start-up sequence
	if(HAL_OK != lps277SPISetup(SPI_Handle))
		ret_status = HAL_ERROR;

	return ret_status;

}

/**
 * @brief LPS27 Sensor Test Function SPI
 * @param uint32_t *pres_final_data: Final pressure data in hPa
 * 		  SPI_HandleTypeDef: The SPI peripheral on the micro-controller
 * @retval ret_status: Error status
 */
uint8_t lps277SPITestFunction(uint32_t *pres_final_data , SPI_HandleTypeDef SPI_Handle)
{
	uint8_t pres_raw_data[3];
	//	uint8_t con_flag =  0;

	uint8_t ret_status = HAL_OK;

	if(HAL_OK == lps277SPIPressureRawData(pres_raw_data , SPI_Handle))
	{
		//		if(con_flag == 1)
		*pres_final_data = lps277SPIPressureFinalData(pres_raw_data, 3);
		//		else
		//			ret_status = 2;
	}
	else
		ret_status = HAL_ERROR;

	return ret_status;
}

//		if(HAL_OK != adxl375SPIWhoami(hspi1))
//			return HAL_ERROR;

//		if(HAL_OK != adxl375SPISetup(hspi1))
//			return HAL_ERROR;

//		if(HAL_OK != aht20TempHumiditySetup(hi2c1))
//			return HAL_ERROR;
//
//		if(HAL_OK != aht20TempHumidityData(hi2c1, &temp, &humidity))
//			return HAL_ERROR;
//		else
//		{
//			RTCTimestamp(time_stamp, date_stamp, hrtc);
//			sprintf((char *)print_string ,"%s Temp: %.3f RH: %.3f\r\n", time_stamp, temp , humidity);
//			HAL_UART_Transmit(&huart1, print_string, sizeof(print_string), 100);
//			memset(print_string , 0 , sizeof(print_string));
//
//		}
//
//		HAL_Delay(100);

//		if (HAL_OK != adxl375SPIAccData(hspi1, acc_data))
//			return HAL_ERROR;

//		if (HAL_OK != adxl375I2CAccData(acc_data , hi2c1))
//			return HAL_ERROR;
//		if(HAL_OK != adxl375SPIAccData(hspi1, acc_data))
//			;
//		if(adxl375_drdy == 1)
//		{
//			adxl375_drdy = 0;
//			if (HAL_OK != adxl375SPIAccData(hspi1, acc_data))
//				return HAL_ERROR;
//			//			if (HAL_OK != adxl375I2CAccData(acc_data , hi2c1))
//			//				return HAL_ERROR;
//			else
//			{
//				sprintf((char *)print_string ,"%s ACC: X:%.3d Y:%.3d Z:%.3d\r\n", time_stamp,acc_data[0], acc_data[1], acc_data[2]);
//				HAL_UART_Transmit(&huart1, print_string, sizeof(print_string), 100);
//				memset(print_string , 0 , sizeof(print_string));
//
//			}
//		}

//		if(HAL_OK != apds9960ProximitySetup(hi2c1))
//			return HAL_ERROR;
//
//
//		//		if(HAL_OK != apds9960ProximityData(hi2c1, &proximity))
//		//			return HAL_ERROR;
//
//		//		if(apds9960_drdy == 1)
//		//		{
//		//			apds9960_drdy = 0;
//		if(HAL_OK != apds9960ProximityData(hi2c1, &proximity))
//			return HAL_ERROR;
//
//		sprintf((char *)print_string ,"%s Proximity: %d\r\n", time_stamp,proximity);
//		HAL_UART_Transmit(&huart1, print_string, sizeof(print_string), 100);
//		memset(print_string , 0 , sizeof(print_string));

//		}

//if(HAL_OK != adxl375I2CWhoami(hi2c1))
//		return HAL_ERROR;
//	if(HAL_OK != adxl375I2CSetup(hi2c1))
//		return HAL_ERROR;

//	if(HAL_OK != adxl375SPIWhoami(hspi1))
//		return HAL_ERROR;
//	if(HAL_OK != adxl375SPISetup(hspi1))
//		return HAL_ERROR;
//
//		if(adxl375_drdy == 1)
//		{
//			adxl375_drdy = 0;
//			//			if (HAL_OK != adxl375SPIAccData(hspi1, acc_data))
//			if(HAL_OK != adxl375I2CAccData(acc_data, hi2c1))
//				return HAL_ERROR;
//			else
//			{
//				RTCTimestamp(time_stamp, date_stamp, hrtc);
//				sprintf((char *)print_string ,"%s ACC: X:%.3d Y:%.3d Z:%.3d\r\n", time_stamp,acc_data[0], acc_data[1], acc_data[2]);
//				HAL_UART_Transmit(&huart1, print_string, sizeof(print_string), 100);
//				memset(print_string , 0 , sizeof(print_string));
//
//			}
//		}

//if(HAL_OK != aht20TempHumidityData(hi2c1, &temp, &humidity))
//			return HAL_ERROR;
//		else
//		{
//			RTCTimestamp(time_stamp, date_stamp, hrtc);
//			sprintf((char *)print_string ,"%s Temp: %.3f RH: %.3f\r\n", time_stamp, temp , humidity);
//			HAL_UART_Transmit(&huart1, print_string, sizeof(print_string), 100);
//			memset(print_string , 0 , sizeof(print_string));
//
//		}
//
//if(HAL_OK != aht20TempHumiditySetup(hi2c1))
//		return HAL_ERROR;

//if(lism3dl_drdy == 1)
//		{
//			RTCTimestamp(time_stamp, date_stamp, hrtc);
//			lism3dl_drdy = 0;
//			if(HAL_OK != lis3mdlMagneticData(mag_data, hi2c1))
//				return HAL_ERROR;
//			else
//			{
//				sprintf((char *)print_string ,"%s X:%.3d Y:%.3d Z:%.3d\r\n", time_stamp, mag_data[0], mag_data[1], mag_data[2]);
//				HAL_UART_Transmit(&huart1, print_string, sizeof(print_string), 100);
//				memset(print_string , 0 , sizeof(print_string));
//
//			}
//			HAL_Delay(100);
//		}

//if(lsm_acc_drdy == 1)
//		{
//			lsm_acc_drdy = 0;
//
//			if(HAL_OK != lsm6dso32SPIAccData(hspi1, acc_data))
//				return HAL_ERROR;
//			else
//			{
//				RTCTimestamp(time_stamp, date_stamp, hrtc);
//				sprintf((char *)print_string ,"%s ACC: X:%.3d Y:%.3d Z:%.3d\r\n", time_stamp,acc_data[0], acc_data[1], acc_data[2]);
//				HAL_UART_Transmit(&huart1, print_string, sizeof(print_string), 100);
//				memset(print_string , 0 , sizeof(print_string));
//
//			}
//		}
//
//		if(lsm_gyro_drdy == 1)
//		{
//			lsm_gyro_drdy = 0;
//
//			if(HAL_OK != lsm6dso32SPIGyroData(hspi1, gyro_data))
//				return HAL_ERROR;
//			else
//			{
//				RTCTimestamp(time_stamp, date_stamp, hrtc);
//				sprintf((char *)print_string ,"%s GYRO: X:%.3d Y:%.3d Z:%.3d\r\n", time_stamp,gyro_data[0], gyro_data[1], gyro_data[2]);
//				HAL_UART_Transmit(&huart1, print_string, sizeof(print_string), 100);
//				memset(print_string , 0 , sizeof(print_string));
//
//			}
//
//
//		}

//if(data_rdy_flag == 1)
//		{
//			data_rdy_flag = 0;
//
//			if(HAL_OK != lps277I2CTestFunction(&pres_data, hi2c1))
//				return HAL_ERROR;
//			else
//			{
//				RTCTimestamp(time_stamp, date_stamp, hrtc);
//				sprintf((char *)print_string ,"%s Pres: %lu\r\n", time_stamp, pres_data);
//				HAL_UART_Transmit(&huart1, print_string, sizeof(print_string), 100);
//				memset(print_string , 0 , sizeof(print_string));
//
//			}
//		}

//uint8_t time_stamp[7] , date_stamp[12];
//	float mag_data[3];
//	//	int16_t acc_data[3], gyro_data[3];
//	//	uint32_t pres_data;
//	//	uint16_t light_data;
//	uint8_t print_string[50];

//if(HAL_OK != lis2mdlI2CTestFunction(mag_data, hi2c1))
//			return HAL_ERROR;
//		else
//		{
//			sprintf((char *)print_string ,"%s X:%.3f Y:%.3f Z:%.3f\r\n", time_stamp, mag_data[0], mag_data[1], mag_data[2]);
//			HAL_UART_Transmit(&huart1, print_string, sizeof(print_string), 100);
//			memset(print_string , 0 , sizeof(print_string));
//		}

/* USER CODE END 4 */

void Error_Handler(void)
{
	__disable_irq();
	while (1)
	{
	}
}
